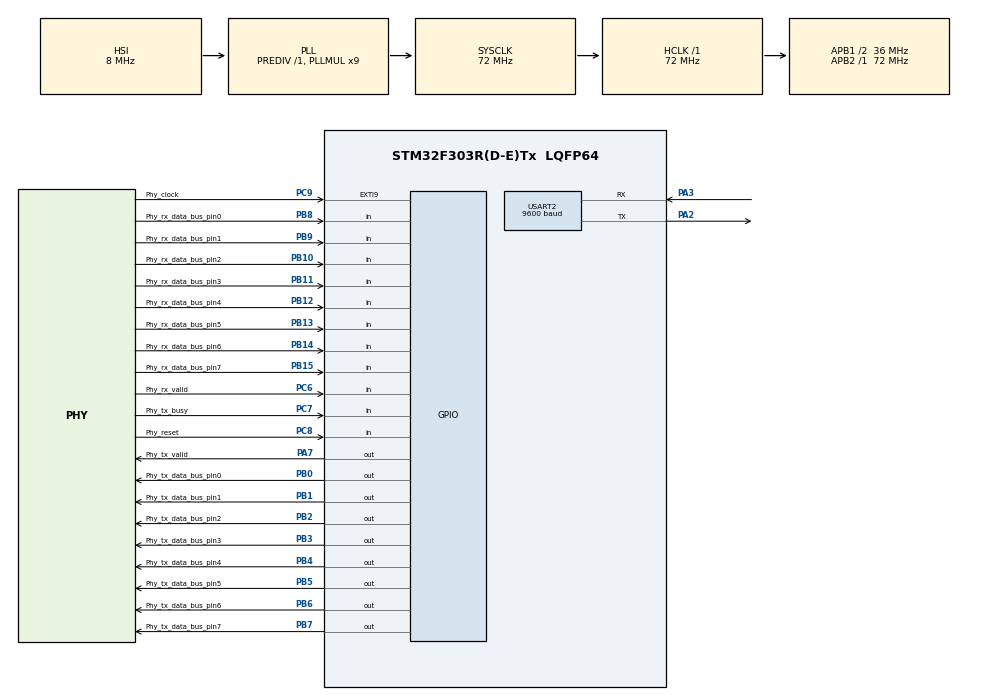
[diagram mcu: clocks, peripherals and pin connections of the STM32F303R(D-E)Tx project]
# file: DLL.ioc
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Mcu.Family=STM32F3
Mcu.Name=STM32F303R(D-E)Tx
Mcu.Package=LQFP64
Mcu.UserConstants=PSC_2KHZ,36000;ARR_2HZ,1000
NVIC.EXTI9_5_IRQn=true\:0\:0\:false\:true\:false\:1\:true
NVIC.PriorityGroup=NVIC_PRIORITYGROUP_4
NVIC.TIM2_IRQn=true\:0\:0\:false\:true\:true\:3\:true
NVIC.TIM3_IRQn=true\:0\:0\:false\:true\:true\:4\:true
NVIC.USART2_IRQn=true\:0\:0\:false\:true\:false\:2\:true
PA13.Mode=Serial_Wire
PA13.Signal=SYS_JTMS-SWDIO
PA14.Mode=Serial_Wire
PA14.Signal=SYS_JTCK-SWCLK
PA2.Mode=Asynchronous
PA2.Signal=USART2_TX
PA3.Mode=Asynchronous
PA3.Signal=USART2_RX
PA7.GPIO_Label=Phy_tx_valid
PA7.GPIO_ModeDefaultOutputPP=GPIO_MODE_OUTPUT_PP
PA7.GPIO_PuPd=GPIO_PULLDOWN
PA7.GPIO_Speed=GPIO_SPEED_FREQ_HIGH
PA7.Signal=GPIO_Output
PB0.GPIO_Label=Phy_tx_data_bus_pin0
PB0.GPIO_ModeDefaultOutputPP=GPIO_MODE_OUTPUT_PP
PB0.GPIO_PuPd=GPIO_PULLDOWN
PB0.GPIO_Speed=GPIO_SPEED_FREQ_HIGH
PB0.Signal=GPIO_Output
PB1.GPIO_Label=Phy_tx_data_bus_pin1
PB1.GPIO_PuPd=GPIO_PULLDOWN
PB1.GPIO_Speed=GPIO_SPEED_FREQ_HIGH
PB1.Signal=GPIO_Output
PB10.GPIO_Label=Phy_rx_data_bus_pin2
PB10.GPIO_PuPd=GPIO_PULLDOWN
PB10.Signal=GPIO_Input
PB11.GPIO_Label=Phy_rx_data_bus_pin3
PB11.GPIO_PuPd=GPIO_PULLDOWN
PB11.Signal=GPIO_Input
PB12.GPIO_Label=Phy_rx_data_bus_pin4
PB12.GPIO_PuPd=GPIO_PULLDOWN
PB12.Signal=GPIO_Input
PB13.GPIO_Label=Phy_rx_data_bus_pin5
PB13.GPIO_PuPd=GPIO_PULLDOWN
PB13.Signal=GPIO_Input
PB14.GPIO_Label=Phy_rx_data_bus_pin6
PB14.GPIO_PuPd=GPIO_PULLDOWN
PB14.Signal=GPIO_Input
PB15.GPIO_Label=Phy_rx_data_bus_pin7
PB15.GPIO_PuPd=GPIO_PULLDOWN
PB15.Signal=GPIO_Input
PB2.GPIO_Label=Phy_tx_data_bus_pin2
PB2.GPIO_PuPd=GPIO_PULLDOWN
PB2.GPIO_Speed=GPIO_SPEED_FREQ_HIGH
PB2.Signal=GPIO_Output
PB3.GPIO_Label=Phy_tx_data_bus_pin3
PB3.GPIO_PuPd=GPIO_PULLDOWN
PB3.GPIO_Speed=GPIO_SPEED_FREQ_HIGH
PB3.Signal=GPIO_Output
PB4.GPIO_Label=Phy_tx_data_bus_pin4
PB4.GPIO_PuPd=GPIO_PULLDOWN
PB4.GPIO_Speed=GPIO_SPEED_FREQ_HIGH
PB4.Signal=GPIO_Output
PB5.GPIO_Label=Phy_tx_data_bus_pin5
PB5.GPIO_PuPd=GPIO_PULLDOWN
PB5.GPIO_Speed=GPIO_SPEED_FREQ_HIGH
PB5.Signal=GPIO_Output
PB6.GPIO_Label=Phy_tx_data_bus_pin6
PB6.GPIO_PuPd=GPIO_PULLDOWN
PB6.GPIO_Speed=GPIO_SPEED_FREQ_HIGH
PB6.Signal=GPIO_Output
PB7.GPIO_Label=Phy_tx_data_bus_pin7
PB7.GPIO_PuPd=GPIO_PULLDOWN
PB7.GPIO_Speed=GPIO_SPEED_FREQ_HIGH
PB7.Signal=GPIO_Output
PB8.GPIO_Label=Phy_rx_data_bus_pin0
PB8.GPIO_PuPd=GPIO_PULLDOWN
PB8.Signal=GPIO_Input
PB9.GPIO_Label=Phy_rx_data_bus_pin1
PB9.GPIO_PuPd=GPIO_PULLDOWN
PB9.Signal=GPIO_Input
PC6.GPIO_Label=Phy_rx_valid
PC6.GPIO_PuPd=GPIO_PULLDOWN
PC6.Signal=GPIO_Input
PC7.GPIO_Label=Phy_tx_busy
PC7.GPIO_PuPd=GPIO_PULLDOWN
PC7.Signal=GPIO_Input
PC8.GPIO_Label=Phy_reset
PC8.GPIO_PuPd=GPIO_PULLDOWN
PC8.Signal=GPIO_Input
PC9.GPIO_Label=Phy_clock
PC9.GPIO_ModeDefaultEXTI=GPIO_MODE_IT_RISING_FALLING
PC9.GPIO_PuPd=GPIO_PULLDOWN
PC9.Signal=GPXTI9
ProjectManager.HeapSize=0xe000
ProjectManager.StackSize=0x1400
ProjectManager.TargetToolchain=MDK-ARM V5
RCC.AHBFreq_Value=72000000
RCC.APB1CLKDivider=RCC_HCLK_DIV2
RCC.APB1Freq_Value=36000000
RCC.APB1TimFreq_Value=72000000
RCC.APB2Freq_Value=72000000
RCC.APB2TimFreq_Value=72000000
RCC.CortexFreq_Value=72000000
RCC.HCLKFreq_Value=72000000
RCC.HSE_VALUE=8000000
RCC.HSI_VALUE=8000000
RCC.LSE_VALUE=32768
RCC.PLLMUL=RCC_PLL_MUL9
RCC.SYSCLKFreq_VALUE=72000000
RCC.SYSCLKSourceVirtual=RCC_SYSCLKSOURCE_PLLCLK
RCC.USBFreq_Value=72000000
TIM2.Period=5999999
TIM2.Prescaler=9
TIM3.Period=999
TIM3.Prescaler=719
USART2.BaudRate=9600
USART2.VirtualMode-Asynchronous=VM_ASYNC
USART2.WordLength=WORDLENGTH_8B
VP_CRC_VS_CRC.Mode=CRC_Activate
VP_TIM2_VS_ClockSourceINT.Mode=Internal
VP_TIM3_VS_ClockSourceINT.Mode=Internal
board=DLL

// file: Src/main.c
/**
  ******************************************************************************
  * @file           : main.c
  * @brief          : Main program body
  ******************************************************************************
  ** This notice applies to any and all portions of this file
  * that are not between comment pairs USER CODE BEGIN and
  * USER CODE END. Other portions of this file, whether
  * inserted by the user or by software development tools
  * are owned by their respective copyright owners.
  *
  * COPYRIGHT(c) 2020 STMicroelectronics
  *
  * Redistribution and use in source and binary forms, with or without modification,
  * are permitted provided that the following conditions are met:
  *   1. Redistributions of source code must retain the above copyright notice,
  *      this list of conditions and the following disclaimer.
  *   2. Redistributions in binary form must reproduce the above copyright notice,
  *      this list of conditions and the following disclaimer in the documentation
  *      and/or other materials provided with the distribution.
  *   3. Neither the name of STMicroelectronics nor the names of its contributors
  *      may be used to endorse or promote products derived from this software
  *      without specific prior written permission.
  *
  * THIS SOFTWARE IS PROVIDED BY THE COPYRIGHT HOLDERS AND CONTRIBUTORS "AS IS"
  * AND ANY EXPRESS OR IMPLIED WARRANTIES, INCLUDING, BUT NOT LIMITED TO, THE
  * IMPLIED WARRANTIES OF MERCHANTABILITY AND FITNESS FOR A PARTICULAR PURPOSE ARE
  * DISCLAIMED. IN NO EVENT SHALL THE COPYRIGHT HOLDER OR CONTRIBUTORS BE LIABLE
  * FOR ANY DIRECT, INDIRECT, INCIDENTAL, SPECIAL, EXEMPLARY, OR CONSEQUENTIAL
  * DAMAGES (INCLUDING, BUT NOT LIMITED TO, PROCUREMENT OF SUBSTITUTE GOODS OR
  * SERVICES; LOSS OF USE, DATA, OR PROFITS; OR BUSINESS INTERRUPTION) HOWEVER
  * CAUSED AND ON ANY THEORY OF LIABILITY, WHETHER IN CONTRACT, STRICT LIABILITY,
  * OR TORT (INCLUDING NEGLIGENCE OR OTHERWISE) ARISING IN ANY WAY OUT OF THE USE
  * OF THIS SOFTWARE, EVEN IF ADVISED OF THE POSSIBILITY OF SUCH DAMAGE.
  *
  ******************************************************************************
  */
#include "main.h"
#include "stm32f3xx_hal.h"

/* USER CODE BEGIN Includes */
#include <stdlib.h>
#include "Ethernet.h"
#include "template.h"
#include <stdio.h>
#include <time.h>

#define DEBUG debug()
#define CRC_ERROR 100
#define FRAME_LENGTH_ERROR 101
#define PAYLOAD_LENGTH_ERROR 102 //must be greater than 42 and lesser than 1500
#define PREAMBLE_ERROR 103
#define NO_ERROR 104
/* USER CODE END Includes */

CRC_HandleTypeDef hcrc;

TIM_HandleTypeDef htim2;
TIM_HandleTypeDef htim3;

UART_HandleTypeDef huart2;

/* USER CODE BEGIN PV */
/* Private variables ---------------------------------------------------------*/

uint8_t myMAC[] ={0xcc,0xcc,0xcc,0xcc,0xcc,0xcc}; 	//Our MAC address
uint32_t is_frame_ready = 0;
Ethernet_res frame_res;
uint32_t timeout = 0;
Ethernet_req* temp = NULL;
Ethernet_req* temp2;
uint8_t PSN = 0;
uint8_t ACK = 0;
uint32_t sub_LLC_struct_ready = 0;
uint32_t mac_tx_busy = 0;
uint32_t sub_ready_for_LLC_Rx = 0;

/* USER CODE END PV */

void SystemClock_Config(void);
static void MX_GPIO_Init(void);
static void MX_USART2_UART_Init(void);
static void MX_CRC_Init(void);
static void MX_TIM2_Init(void);
static void MX_TIM3_Init(void);
static void MX_NVIC_Init(void);

/* USER CODE BEGIN PFP */
/* Private function prototypes -----------------------------------------------*/
//for debug
	uint8_t tx_data_wire = 0;
	uint8_t tx_vld_wire = 0;
	uint8_t phy_clk_wire = 0;
	uint8_t phy_busy_wire = 0;
	uint8_t phy_reset_wire = 0;
	uint8_t rx_data_wire = 0;
	uint8_t rx_vld_wire = 0;

void debug(void)
{
	 tx_data_wire = (uint8_t)((Phy_tx_data_bus_pin0_GPIO_Port->IDR) & 0x0FF);
	 tx_vld_wire = (uint8_t)HAL_GPIO_ReadPin(Phy_tx_valid_GPIO_Port, Phy_tx_valid_Pin);
	 phy_clk_wire = (uint8_t)HAL_GPIO_ReadPin(Phy_clock_GPIO_Port, Phy_clock_Pin);
	 phy_busy_wire = (uint8_t)HAL_GPIO_ReadPin(Phy_tx_busy_GPIO_Port, Phy_tx_busy_Pin);
	 phy_reset_wire = (uint8_t)HAL_GPIO_ReadPin(Phy_reset_GPIO_Port, Phy_reset_Pin);
	 rx_data_wire = (uint8_t)((Phy_rx_data_bus_pin0_GPIO_Port->IDR)>>8);
	 rx_vld_wire = (uint8_t)HAL_GPIO_ReadPin(Phy_rx_valid_GPIO_Port, Phy_rx_valid_Pin);
}
	//end debug

/* USER CODE END PFP */

/* USER CODE BEGIN 0 */

int Randoms(int lower, int upper)
{
					int num = (rand() % (upper - lower + 1)) + lower;
					return num;
}

static uint32_t is_new = 1; //should be zero just for yoffi
uint32_t again = 0;
void sub_LLC()
{
	//static uint32_t first = 1;
	int i;
	static uint32_t ACK_received = 1;
	int spy_ben_shel_zona = 0;
	if(is_frame_ready) //frame for Rx MAC ready
	{
		is_frame_ready = 0;
		//printf("\r\nframe ready");
		if(frame_res.typeLength[0] == 0x08 && frame_res.typeLength[1] == 0x88) //type - new
		{
			//printf(":type-new");
			if(frame_res.payload[0]) //ACK frame
			{
				ACK_received = 1;
				timeout = 0;
				HAL_TIM_Base_Stop_IT(&htim2);
				__HAL_TIM_SET_COUNTER(&htim2, 0);
				printf("\r\nACK of frame %d was received.\r\n",1-frame_res.payload[1]);
				//sub_ready_for_LLC_Rx = 1;
			}
			else //data frame
			{
				//printf(":data frame received,sending ACK");
				if(frame_res.syndrom == NO_ERROR)
				{
					ACK = 1;
					sub_LLC_struct_ready = 1;
					for(i = 0; i < 8; i++)
					{
						temp2->destinationMac[i] = temp->sourceMac[i];
						temp2->sourceMac[i] = myMAC[i]; //looks suspicious but it's good trust
					}
				}
				sub_ready_for_LLC_Rx = 1;
			}
		}
		else //type - old
		{
			sub_ready_for_LLC_Rx = 1;
		}
	}
	if(ACK_received || !is_new) //first packet or packet after receiving ACK or old packets
	{
		if(temp)
			{//in the end of using 'temp' you have to free memory:
				free((void*)temp->payload);
				free(temp);
				temp = NULL;
			}
		if(isNewTxRequest())
		{
			//printf(":new Tx req");
			temp = getTxRequeset();
			spy_ben_shel_zona = Randoms(1,3);
			if(spy_ben_shel_zona == 1)
			{
				is_new = 0;
			}
			else
			{
				is_new = 1;
			}
			is_new = 1;
			if(is_new)
			{
				printf("\r\n\r\nsending new packet\r\n");
				temp->typeLength[0] = 0x08;
				temp->typeLength[1] = 0x88;
				ACK_received = 0;
				PSN = 1 - PSN;
				ACK = 0;
			}
			else //sending old packet
			{
				printf("\r\n\r\nsending old packet\r\n");
				ACK = 0;
				ACK_received = 1;
				temp->typeLength[1] = 0;
				temp->typeLength[0] = 0;
			}
			sub_LLC_struct_ready = 1;
		}
	}
	else if(!ACK_received && timeout == 2)
	{
		again = 1;
		timeout = 0;
		HAL_TIM_Base_Stop_IT(&htim2);
		__HAL_TIM_SET_COUNTER(&htim2, 0);
		printf("sending lost packet\r\n");
		sub_LLC_struct_ready = 1; //sending the lost packet
	}

}

/* Dll Rx functions */
uint8_t frame_ended = 0;
extern uint8_t isRxByteReady(void);									//check if there is new byte received from phy.
extern uint8_t getByte(void); 											//get byte from phy, it's mandatory to use "isRxByteReady()" before calling this function.
void LLC_RX()
{
	uint32_t i;
	uint32_t is_new = 0;
	if(sub_ready_for_LLC_Rx)
	{
		is_new = frame_res.typeLength[0] == 0x08 && frame_res.typeLength[1] == 0x88;
		sub_ready_for_LLC_Rx = 0;
		printf("\r\nReceived a new frame\r\n");
		switch(frame_res.syndrom)
		{
			case NO_ERROR:
				printf("Destination Address is: ");
				for(i = 0; i < MAC_ADDRESS_LEN; i++)
				{
					printf("%x",frame_res.destinationMac[i]);
				}
				printf("\r\nSource Address is: ");
				for(i = 0; i< MAC_ADDRESS_LEN; i++)
				{
					printf("%x",frame_res.sourceMac[i]);
				}
				printf("\r\nPayload is: ");
				for(i = 0; i < frame_res.payloadSize[0] + frame_res.payloadSize[1]*256+2*(is_new); i++)
				{
					if(is_new && i == 0) //type - new
					{	i=2;}
					printf("%c", frame_res.payload[i]);
				}
				printf("\r\n\r\n");
				break;
			case PREAMBLE_ERROR:
				printf("\r\nOh no, We can't beleive this. Bibi is still prime minister? also Preamble wasn't valid.\r\n\r\n");
				break;
			case PAYLOAD_LENGTH_ERROR:
				printf("\r\nOh no, We can't beleive this. Bibi is still prime minister? also Payload Length wasn't valid..\r\n\r\n");
				break;
			case FRAME_LENGTH_ERROR:
				printf("\r\nOh no, We can't beleive this. Bibi is still prime minister? also Total Frame Length wasn't valid..\r\n\r\n");
				break;
			case CRC_ERROR:
				printf("\nOh no, We can't beleive this. Bibi is still prime minister? also CRC wasn't valid..\r\n\r\n");
				break;
		}
		free((void*)frame_res.payload);
	}
}

void MAC_RX()
{
	uint8_t byte = 0;
	static uint32_t allocate = 1;
	uint8_t Rx_CRC_res = 0;
	uint8_t Tx_CRC_res = 0;
	static uint32_t data_size = 0;
	int32_t i = 0;
	static uint32_t error = 0;
	static uint32_t rx_frame_counter = 0;
	static uint32_t timer_on = 0;
	static uint8_t rx_frame[1522];
	static uint32_t preamble_counter = 0;
	static uint32_t stat = 0;
	static uint32_t timer = 0;

	if(isRxByteReady())
	{
		if(timer_on)
		{
			//HAL_TIM_Base_Stop_IT(&htim2);
			timer = 0;
			timer_on = 0;
		}
		if(preamble_counter < 7)
		{
			byte = getByte();
			if(byte == 0xAA)
				preamble_counter++;
			else
			{
				preamble_counter = 0;
			}
		}
		else if(preamble_counter == 7)
		{
			byte = getByte();
			if(byte == 0xAB)
			{
				rx_frame_counter = 0;
				preamble_counter++;
			}
			else
			{
				preamble_counter = 0;
			}
		}
		else
		{
			if(rx_frame_counter==0)
			{
				rx_frame[0] = getByte();
				rx_frame_counter++;
				//printf("\r\n0::%x, ",rx_frame[0]);
			}
			else
			{
				if(rx_frame_counter < 1522)
				{
					byte = getByte();
					rx_frame[rx_frame_counter] = byte;
					//printf("%d::%x, ",rx_frame_counter,rx_frame[rx_frame_counter]);
					rx_frame_counter++;
				}
				else
				{
					frame_res.syndrom = FRAME_LENGTH_ERROR;
					preamble_counter = 0;
					rx_frame_counter = 0;
					is_frame_ready = 1;
				}
				//printf("\r\n16:%x,17:%x",rx_frame[16+8],rx_frame[8+17]);
			}
			//HAL_TIM_Base_Start_IT(&htim2);
			timer_on = 1;
			int c = 1;
		}
	}
	else
	{
		if(timer_on)
			timer++;
	}

	if(timer == 10000) //start buliding the struct
	{
		//printf("\r\nstart building the frame;");
		timer = 0;
		timer_on = 0;
		//HAL_TIM_Base_Stop_IT(&htim2);
		frame_res.syndrom = NO_ERROR;
		if(rx_frame_counter < 64) // frame length error
		{
			frame_res.syndrom = FRAME_LENGTH_ERROR;
		}
		else
		{
			hcrc.Init.DefaultInitValueUse = DEFAULT_INIT_VALUE_ENABLE;
			Rx_CRC_res = HAL_CRC_Calculate(&hcrc,(uint32_t*)&rx_frame[0],1);
			//printf("0;");
			frame_res.destinationMac[0] = rx_frame[0];
			//if(ACK)
			//printf("0:%x,",rx_frame[0]);
			for(i = 1; i<rx_frame_counter - 4; i++) //crc calc + constructing the frame
			{
				//if(ACK)
				{
					//printf("%d:%x,",i,rx_frame[i]);
					//printf("%d;",i);
				}
				Rx_CRC_res = HAL_CRC_Accumulate(&hcrc,(uint32_t*)&rx_frame[i],1);
				if(i >= 1 && i <= 5) //destination address
					frame_res.destinationMac[i] = rx_frame[i];
				else if(i >= 6 && i <= 11) //source address
				{
					frame_res.sourceMac[i-6] = rx_frame[i];
				}
				else if(i == 16 && rx_frame[i+1] == 0x08 && rx_frame[i] == 0x88) //type - new
				{
					frame_res.typeLength[1] = 0x88;
					frame_res.typeLength[0] = 0x08;
					frame_res.payloadSize[0] = rx_frame[21];
					frame_res.payloadSize[1] = rx_frame[20];
					data_size = rx_frame[21] + rx_frame[20]*256 + 2; //+2 for ACK and PSN
					frame_res.payload = (uint8_t*)malloc(data_size*sizeof(uint8_t));
					frame_res.payload[0] = rx_frame[18]; //ACK
					frame_res.payload[1] = rx_frame[19]; //PSN
					Rx_CRC_res = HAL_CRC_Accumulate(&hcrc,(uint32_t*)&rx_frame[17],1);
					Rx_CRC_res = HAL_CRC_Accumulate(&hcrc,(uint32_t*)&rx_frame[18],1);
					Rx_CRC_res = HAL_CRC_Accumulate(&hcrc,(uint32_t*)&rx_frame[19],1);
					Rx_CRC_res = HAL_CRC_Accumulate(&hcrc,(uint32_t*)&rx_frame[20],1);
					Rx_CRC_res = HAL_CRC_Accumulate(&hcrc,(uint32_t*)&rx_frame[21],1);
					i=21;
					if(ACK)
					{
						//printf("17;");
						//printf("18;");
						//printf("19;");
						//printf("17:%x,",rx_frame[17]);
						//printf("18:%x,",rx_frame[18]);
						//printf("19:%x,",rx_frame[19]);
					}
				}
				else if(i >= 16 && i <= 17) //payload size , type - old
				{
					frame_res.typeLength[0] = 0;
					frame_res.typeLength[1] = 0;
					frame_res.payloadSize[0] = rx_frame[17];
					frame_res.payloadSize[1] = rx_frame[16];
					data_size = rx_frame[17] + rx_frame[16]*256;
					frame_res.payload = (uint8_t*)malloc(data_size*sizeof(uint8_t));
				}
				else if(i >= 22 && i < 22 + data_size && rx_frame[17] == 0x08 && rx_frame[16] == 0x88)
				{
					frame_res.payload[i-20] = rx_frame[i];
				}
				else if(i >= 18 && i < 18 + data_size) //data
				{
					frame_res.payload[i-18] = rx_frame[i];
				}
			}
			Tx_CRC_res = rx_frame[rx_frame_counter-4] + rx_frame[rx_frame_counter-3]*256 + rx_frame[rx_frame_counter-2]*65536 + rx_frame[rx_frame_counter-1]*(2^24);
			//if(ACK)
			//printf("tx:%x, rx:%x\r\n", Tx_CRC_res, Rx_CRC_res);
			if(Tx_CRC_res != Rx_CRC_res)
			{
				//printf(":crc error:");
				frame_ended = 0;
				frame_res.syndrom = CRC_ERROR;
			}
			else if(data_size > 1498) //ze mamash lo meshane
			{
				frame_res.syndrom = PAYLOAD_LENGTH_ERROR;
			}
		}
		i=0;
		preamble_counter = 0;
		rx_frame_counter = 0;
		is_frame_ready = 1;
	}
}

/* Dll Tx functions */
uint8_t gap_time_passed = 1;
extern uint8_t isPhyTxReady(void);									//check if the phy_Tx ready to get another byte to send.
extern uint8_t sendByte(uint8_t data); 							//sent byte to phy, it's mandatory to use "isPhyTxReady()" before call this function
extern uint8_t isNewTxRequest(void); 								//check if the upper_layer sent us new data to transmit.
extern Ethernet_req* getTxRequeset(void);						//get from upper_layer data to transmit, it's mandatory to use "isNewTxRequest()" before call this function.
//Important! - after finish using the Ethernet_req struct, you have to free it and also free the Ethernet_req.payload.

void MAC_TX() //payload size msb sent first
{
	static uint8_t* frame;
	static uint32_t timer_on = 0;
	static uint16_t data_size = 0;
	static uint32_t frame_size = 0;
	static uint32_t i = 0;
	static uint32_t CRC_res = 0;
	static uint32_t tx_ready_to_send = 0;
	static uint32_t kaki = 26;
	static uint32_t first_of_frame = 0;
	uint32_t j = 0;
	if (sub_LLC_struct_ready && gap_time_passed)
	{
		sub_LLC_struct_ready = 0;
		if(timer_on)
		{
			HAL_TIM_Base_Stop_IT(&htim3);
			timer_on = 0;
		}
		data_size = ACK == 0? (temp->payloadSize[0] + (temp->payloadSize[1]*256)+4*is_new) : 0;
		if(data_size < 42)
		{
			frame = (uint8_t *)malloc(72*sizeof(uint8_t));
			frame_size = 42;
		}
		else
		{
			frame = (uint8_t *)malloc((data_size+30)*sizeof(uint8_t));
			frame_size = data_size;
		}
		for(i=0; i<frame_size+30; i++)
		{
			if(i < 7) //preamble
			{
				frame[i] = 0xAA;
			}
			else if(i == 7) //last preamble
			{
				frame[i] = 0xAB;
			}
			else if(i >=8 && i <= 13) //destination Mac be hearot
			{
				frame[i] = ACK == 0? (temp->destinationMac[i-8]) : (temp2->destinationMac[i-8]);
				if(i==8)
					CRC_res = HAL_CRC_Calculate(&hcrc,(uint32_t*)&frame[i],1);
				else
					CRC_res = HAL_CRC_Accumulate(&hcrc,(uint32_t*)&frame[i],1);;
			}
			else if(i >=14 && i <= 19) //source Mac gam be hearot
			{
				frame[i] = myMAC[i-14];
				CRC_res = HAL_CRC_Accumulate(&hcrc,(uint32_t*)&frame[i],1);
			}
			else if(i >=20 && i <= 23) //VLAN
			{
				frame[i] = 0;
				CRC_res = HAL_CRC_Accumulate(&hcrc,(uint32_t*)&frame[i],1);
			}
			else if(i == 24) //Length
			{
				if(temp->typeLength[0] == 0x08 && temp->typeLength[1] == 0x88) //type - new
				{
					frame[i] = 0x88;
				}
				else
				{
					frame[i] = temp->payloadSize[1];
				}
				CRC_res = HAL_CRC_Accumulate(&hcrc,(uint32_t*)&frame[i],1); //maybe frame[i+1]
			}
			else if(i == 25) //Length
			{
				if(temp->typeLength[0] == 0x08 && temp->typeLength[1] == 0x88) //type - new
				{
					frame[i] = 0x08;
				}
				else
				{
					frame[i] = temp->payloadSize[0];
				}
				CRC_res = HAL_CRC_Accumulate(&hcrc,(uint32_t*)&frame[i],1); //maybe frame[i-1]
			}
			else if(ACK && i == 26)
			{
				frame[i] = ACK;
				frame[i+1] = PSN;
				frame[i+2] = frame[i+3] = 0;
				i = 29;
			}
			else if(i >=26 && i < 26+data_size)
			{
				if(temp->typeLength[0] == 0x08 && temp->typeLength[1] == 0x88 && i == 26) //type - new
				{
					frame[i] = ACK;
					frame[i+1] = PSN;
					frame[i+2] = (temp->payloadSize[1]);
					frame[i+3] = (temp->payloadSize[0]);
					CRC_res = HAL_CRC_Accumulate(&hcrc,(uint32_t*)&frame[i],1);
					CRC_res = HAL_CRC_Accumulate(&hcrc,(uint32_t*)&frame[i+1],1);
					CRC_res = HAL_CRC_Accumulate(&hcrc,(uint32_t*)&frame[i+2],1);
					kaki = 30;
					i=29;
				}
				else
				{
					frame[i] = temp->payload[i-kaki];
				}
				CRC_res = HAL_CRC_Accumulate(&hcrc,(uint32_t*)&frame[i],1);
			}
			else if(i >=26+data_size && i < 26+frame_size) //Data
			{
				frame[i] = 0;
				CRC_res = HAL_CRC_Accumulate(&hcrc,(uint32_t*)&frame[i],1);
			}
			else if(i >= 26+frame_size) //CRC
			{
				frame[26+frame_size] = CRC_res & 0xFF; //lsb first
				frame[27+frame_size] = CRC_res & 0xFF00;
				frame[28+frame_size] = CRC_res & 0xFF0000;
				frame[29+frame_size] = CRC_res & 0xFF000000; //msb last
				i=frame_size + 29;
			}

		}
		//frame was fully build
		tx_ready_to_send = 1;
		i=0;
		first_of_frame = 1;
	}

	if(tx_ready_to_send && isPhyTxReady() && i < frame_size+30)
	{
		//printf("  ");
		if(first_of_frame && temp->typeLength[0] == 0x08 && temp->typeLength[1] == 0x88&&!ACK)
		{
			if(again)
			{
				//printf("Again!!!!!!!!!!!!!!!!!!!!!");
				again = 0;
			}
			HAL_TIM_Base_Start_IT(&htim2);
			first_of_frame = 0;
			//printf("\r\n");
		}
		sendByte(frame[i]);
		//if(ACK)
		//printf("%d:%x,",i,frame[i]);
		i++;
	}
	if(i == frame_size+30)
	{
		//printf("------------------");
		free(frame);
		frame_size = 0;
		data_size = 0;
		CRC_res = 0;
		i = 0;
		kaki = 26;
		tx_ready_to_send = 0;
		gap_time_passed = 0;
		HAL_TIM_Base_Start_IT(&htim3);
		timer_on = 1;
		first_of_frame = 1;
	}

}
/* USER CODE END 0 */

int main(void)
{

  /* MCU Configuration----------------------------------------------------------*/

  /* Reset of all peripherals, Initializes the Flash interface and the Systick. */
  HAL_Init();

  /* Configure the system clock */
  SystemClock_Config();

  /* Initialize all configured peripherals */
  MX_GPIO_Init();
  MX_USART2_UART_Init();
  MX_CRC_Init();
  MX_TIM2_Init();
  MX_TIM3_Init();

  /* Initialize interrupts */
  MX_NVIC_Init();
  /* USER CODE BEGIN 2 */
	printf("------------------------------------------------------------\r\n");
	printf("DLL is On! DLL will print Rx data and Tx data \r\n(My MAC address is: %02X:%02X:%02X:%02X:%02X:%02X)\r\n",
				myMAC[0],myMAC[1],myMAC[2],myMAC[3],myMAC[4],myMAC[5]);
	printf("------------------------------------------------------------\r\n");
	printf("Press any key to start\r\n");
	DllAlive = 1; //DLL is on!
	__HAL_RCC_CRC_CLK_ENABLE();
	//__HAL_TIM_CLEAR_IT(&htim2 ,TIM_IT_UPDATE);

  /* USER CODE END 2 */

  /* Infinite loop */
  /* USER CODE BEGIN WHILE */
	temp2 = (Ethernet_req*)malloc(sizeof(Ethernet_req));
	temp2->payloadSize[0] = temp2->payloadSize[1] = 0;
	temp2->typeLength[0] = 0x08;
	temp2->typeLength[1] = 0x88;
  while (1)
  {
		//DLL functions - DO NOT TOUCH
		HAL_UART_Receive_IT(&huart2,&recieved_value,1);
		printer();
		DEBUG;
		//End Of DLL functions
		sub_LLC();
		MAC_TX(); //MY FUNCTIONS - DO NO TOUCH, BELEIVE ME ITS WORKS
		MAC_RX();
		LLC_RX();

  /* USER CODE END WHILE */

  }

}

void SystemClock_Config(void)
{

  RCC_OscInitTypeDef RCC_OscInitStruct;
  RCC_ClkInitTypeDef RCC_ClkInitStruct;
  RCC_PeriphCLKInitTypeDef PeriphClkInit;

    /**Initializes the CPU, AHB and APB busses clocks
    */
  RCC_OscInitStruct.OscillatorType = RCC_OSCILLATORTYPE_HSI;
  RCC_OscInitStruct.HSIState = RCC_HSI_ON;
  RCC_OscInitStruct.HSICalibrationValue = 16;
  RCC_OscInitStruct.PLL.PLLState = RCC_PLL_ON;
  RCC_OscInitStruct.PLL.PLLSource = RCC_PLLSOURCE_HSI;
  RCC_OscInitStruct.PLL.PLLMUL = RCC_PLL_MUL9;
  RCC_OscInitStruct.PLL.PREDIV = RCC_PREDIV_DIV1;
  if (HAL_RCC_OscConfig(&RCC_OscInitStruct) != HAL_OK)
  {
    _Error_Handler(__FILE__, __LINE__);
  }

    /**Initializes the CPU, AHB and APB busses clocks
    */
  RCC_ClkInitStruct.ClockType = RCC_CLOCKTYPE_HCLK|RCC_CLOCKTYPE_SYSCLK
                              |RCC_CLOCKTYPE_PCLK1|RCC_CLOCKTYPE_PCLK2;
  RCC_ClkInitStruct.SYSCLKSource = RCC_SYSCLKSOURCE_PLLCLK;
  RCC_ClkInitStruct.AHBCLKDivider = RCC_SYSCLK_DIV1;
  RCC_ClkInitStruct.APB1CLKDivider = RCC_HCLK_DIV2;
  RCC_ClkInitStruct.APB2CLKDivider = RCC_HCLK_DIV1;

  if (HAL_RCC_ClockConfig(&RCC_ClkInitStruct, FLASH_LATENCY_2) != HAL_OK)
  {
    _Error_Handler(__FILE__, __LINE__);
  }

  PeriphClkInit.PeriphClockSelection = RCC_PERIPHCLK_USART2|RCC_PERIPHCLK_TIM2
                              |RCC_PERIPHCLK_TIM34;
  PeriphClkInit.Usart2ClockSelection = RCC_USART2CLKSOURCE_PCLK1;
  PeriphClkInit.Tim2ClockSelection = RCC_TIM2CLK_HCLK;
  PeriphClkInit.Tim34ClockSelection = RCC_TIM34CLK_HCLK;
  if (HAL_RCCEx_PeriphCLKConfig(&PeriphClkInit) != HAL_OK)
  {
    _Error_Handler(__FILE__, __LINE__);
  }

    /**Configure the Systick interrupt time
    */
  HAL_SYSTICK_Config(HAL_RCC_GetHCLKFreq()/1000);

    /**Configure the Systick
    */
  HAL_SYSTICK_CLKSourceConfig(SYSTICK_CLKSOURCE_HCLK);

  /* SysTick_IRQn interrupt configuration */
  HAL_NVIC_SetPriority(SysTick_IRQn, 0, 0);
}

/**
  * @brief NVIC Configuration.
  * @retval None
  */
static void MX_NVIC_Init(void)
{
  /* EXTI9_5_IRQn interrupt configuration */
  HAL_NVIC_SetPriority(EXTI9_5_IRQn, 0, 0);
  HAL_NVIC_EnableIRQ(EXTI9_5_IRQn);
  /* USART2_IRQn interrupt configuration */
  HAL_NVIC_SetPriority(USART2_IRQn, 0, 0);
  HAL_NVIC_EnableIRQ(USART2_IRQn);
  /* TIM2_IRQn interrupt configuration */
  HAL_NVIC_SetPriority(TIM2_IRQn, 0, 0);
  HAL_NVIC_EnableIRQ(TIM2_IRQn);
  /* TIM3_IRQn interrupt configuration */
  HAL_NVIC_SetPriority(TIM3_IRQn, 0, 0);
  HAL_NVIC_EnableIRQ(TIM3_IRQn);
}

/* CRC init function */
static void MX_CRC_Init(void)
{

  hcrc.Instance = CRC;
  hcrc.Init.DefaultPolynomialUse = DEFAULT_POLYNOMIAL_ENABLE;
  hcrc.Init.DefaultInitValueUse = DEFAULT_INIT_VALUE_ENABLE;
  hcrc.Init.InputDataInversionMode = CRC_INPUTDATA_INVERSION_NONE;
  hcrc.Init.OutputDataInversionMode = CRC_OUTPUTDATA_INVERSION_DISABLE;
  hcrc.InputDataFormat = CRC_INPUTDATA_FORMAT_BYTES;
  if (HAL_CRC_Init(&hcrc) != HAL_OK)
  {
    _Error_Handler(__FILE__, __LINE__);
  }

}

/* TIM2 init function */
static void MX_TIM2_Init(void)
{

  TIM_ClockConfigTypeDef sClockSourceConfig;
  TIM_MasterConfigTypeDef sMasterConfig;

  htim2.Instance = TIM2;
  htim2.Init.Prescaler = 9;
  htim2.Init.CounterMode = TIM_COUNTERMODE_UP;
  htim2.Init.Period = 5999999;
  htim2.Init.ClockDivision = TIM_CLOCKDIVISION_DIV1;
  htim2.Init.AutoReloadPreload = TIM_AUTORELOAD_PRELOAD_DISABLE;
  if (HAL_TIM_Base_Init(&htim2) != HAL_OK)
  {
    _Error_Handler(__FILE__, __LINE__);
  }

  sClockSourceConfig.ClockSource = TIM_CLOCKSOURCE_INTERNAL;
  if (HAL_TIM_ConfigClockSource(&htim2, &sClockSourceConfig) != HAL_OK)
  {
    _Error_Handler(__FILE__, __LINE__);
  }

  sMasterConfig.MasterOutputTrigger = TIM_TRGO_RESET;
  sMasterConfig.MasterSlaveMode = TIM_MASTERSLAVEMODE_DISABLE;
  if (HAL_TIMEx_MasterConfigSynchronization(&htim2, &sMasterConfig) != HAL_OK)
  {
    _Error_Handler(__FILE__, __LINE__);
  }

}

/* TIM3 init function */
static void MX_TIM3_Init(void)
{

  TIM_ClockConfigTypeDef sClockSourceConfig;
  TIM_MasterConfigTypeDef sMasterConfig;

  htim3.Instance = TIM3;
  htim3.Init.Prescaler = 719;
  htim3.Init.CounterMode = TIM_COUNTERMODE_UP;
  htim3.Init.Period = 999;
  htim3.Init.ClockDivision = TIM_CLOCKDIVISION_DIV1;
  htim3.Init.AutoReloadPreload = TIM_AUTORELOAD_PRELOAD_DISABLE;
  if (HAL_TIM_Base_Init(&htim3) != HAL_OK)
  {
    _Error_Handler(__FILE__, __LINE__);
  }

  sClockSourceConfig.ClockSource = TIM_CLOCKSOURCE_INTERNAL;
  if (HAL_TIM_ConfigClockSource(&htim3, &sClockSourceConfig) != HAL_OK)
  {
    _Error_Handler(__FILE__, __LINE__);
  }

  sMasterConfig.MasterOutputTrigger = TIM_TRGO_RESET;
  sMasterConfig.MasterSlaveMode = TIM_MASTERSLAVEMODE_DISABLE;
  if (HAL_TIMEx_MasterConfigSynchronization(&htim3, &sMasterConfig) != HAL_OK)
  {
    _Error_Handler(__FILE__, __LINE__);
  }

}

/* USART2 init function */
static void MX_USART2_UART_Init(void)
{

  huart2.Instance = USART2;
  huart2.Init.BaudRate = 9600;
  huart2.Init.WordLength = UART_WORDLENGTH_8B;
  huart2.Init.StopBits = UART_STOPBITS_1;
  huart2.Init.Parity = UART_PARITY_NONE;
  huart2.Init.Mode = UART_MODE_TX_RX;
  huart2.Init.HwFlowCtl = UART_HWCONTROL_NONE;
  huart2.Init.OverSampling = UART_OVERSAMPLING_16;
  huart2.Init.OneBitSampling = UART_ONE_BIT_SAMPLE_DISABLE;
  huart2.AdvancedInit.AdvFeatureInit = UART_ADVFEATURE_NO_INIT;
  if (HAL_UART_Init(&huart2) != HAL_OK)
  {
    _Error_Handler(__FILE__, __LINE__);
  }

}

/** Configure pins as
        * Analog
        * Input
        * Output
        * EVENT_OUT
        * EXTI
*/
static void MX_GPIO_Init(void)
{

  GPIO_InitTypeDef GPIO_InitStruct;

  /* GPIO Ports Clock Enable */
  __HAL_RCC_GPIOA_CLK_ENABLE();
  __HAL_RCC_GPIOB_CLK_ENABLE();
  __HAL_RCC_GPIOC_CLK_ENABLE();

  /*Configure GPIO pin Output Level */
  HAL_GPIO_WritePin(Phy_tx_valid_GPIO_Port, Phy_tx_valid_Pin, GPIO_PIN_RESET);

  /*Configure GPIO pin Output Level */
  HAL_GPIO_WritePin(GPIOB, Phy_tx_data_bus_pin0_Pin|Phy_tx_data_bus_pin1_Pin|Phy_tx_data_bus_pin2_Pin|Phy_tx_data_bus_pin3_Pin
                          |Phy_tx_data_bus_pin4_Pin|Phy_tx_data_bus_pin5_Pin|Phy_tx_data_bus_pin6_Pin|Phy_tx_data_bus_pin7_Pin, GPIO_PIN_RESET);

  /*Configure GPIO pin : Phy_tx_valid_Pin */
  GPIO_InitStruct.Pin = Phy_tx_valid_Pin;
  GPIO_InitStruct.Mode = GPIO_MODE_OUTPUT_PP;
  GPIO_InitStruct.Pull = GPIO_PULLDOWN;
  GPIO_InitStruct.Speed = GPIO_SPEED_FREQ_HIGH;
  HAL_GPIO_Init(Phy_tx_valid_GPIO_Port, &GPIO_InitStruct);

  /*Configure GPIO pins : Phy_tx_data_bus_pin0_Pin Phy_tx_data_bus_pin1_Pin Phy_tx_data_bus_pin2_Pin Phy_tx_data_bus_pin3_Pin
                           Phy_tx_data_bus_pin4_Pin Phy_tx_data_bus_pin5_Pin Phy_tx_data_bus_pin6_Pin Phy_tx_data_bus_pin7_Pin */
  GPIO_InitStruct.Pin = Phy_tx_data_bus_pin0_Pin|Phy_tx_data_bus_pin1_Pin|Phy_tx_data_bus_pin2_Pin|Phy_tx_data_bus_pin3_Pin
                          |Phy_tx_data_bus_pin4_Pin|Phy_tx_data_bus_pin5_Pin|Phy_tx_data_bus_pin6_Pin|Phy_tx_data_bus_pin7_Pin;
  GPIO_InitStruct.Mode = GPIO_MODE_OUTPUT_PP;
  GPIO_InitStruct.Pull = GPIO_PULLDOWN;
  GPIO_InitStruct.Speed = GPIO_SPEED_FREQ_HIGH;
  HAL_GPIO_Init(GPIOB, &GPIO_InitStruct);

  /*Configure GPIO pins : Phy_rx_data_bus_pin2_Pin Phy_rx_data_bus_pin3_Pin Phy_rx_data_bus_pin4_Pin Phy_rx_data_bus_pin5_Pin
                           Phy_rx_data_bus_pin6_Pin Phy_rx_data_bus_pin7_Pin Phy_rx_data_bus_pin0_Pin Phy_rx_data_bus_pin1_Pin */
  GPIO_InitStruct.Pin = Phy_rx_data_bus_pin2_Pin|Phy_rx_data_bus_pin3_Pin|Phy_rx_data_bus_pin4_Pin|Phy_rx_data_bus_pin5_Pin
                          |Phy_rx_data_bus_pin6_Pin|Phy_rx_data_bus_pin7_Pin|Phy_rx_data_bus_pin0_Pin|Phy_rx_data_bus_pin1_Pin;
  GPIO_InitStruct.Mode = GPIO_MODE_INPUT;
  GPIO_InitStruct.Pull = GPIO_PULLDOWN;
  HAL_GPIO_Init(GPIOB, &GPIO_InitStruct);

  /*Configure GPIO pins : Phy_rx_valid_Pin Phy_tx_busy_Pin Phy_reset_Pin */
  GPIO_InitStruct.Pin = Phy_rx_valid_Pin|Phy_tx_busy_Pin|Phy_reset_Pin;
  GPIO_InitStruct.Mode = GPIO_MODE_INPUT;
  GPIO_InitStruct.Pull = GPIO_PULLDOWN;
  HAL_GPIO_Init(GPIOC, &GPIO_InitStruct);

  /*Configure GPIO pin : Phy_clock_Pin */
  GPIO_InitStruct.Pin = Phy_clock_Pin;
  GPIO_InitStruct.Mode = GPIO_MODE_IT_RISING_FALLING;
  GPIO_InitStruct.Pull = GPIO_PULLDOWN;
  HAL_GPIO_Init(Phy_clock_GPIO_Port, &GPIO_InitStruct);

}

void _Error_Handler(char *file, int line)
{
  while(1)
  {
  }
}

/************************ (C) COPYRIGHT STMicroelectronics *****END OF FILE****/
